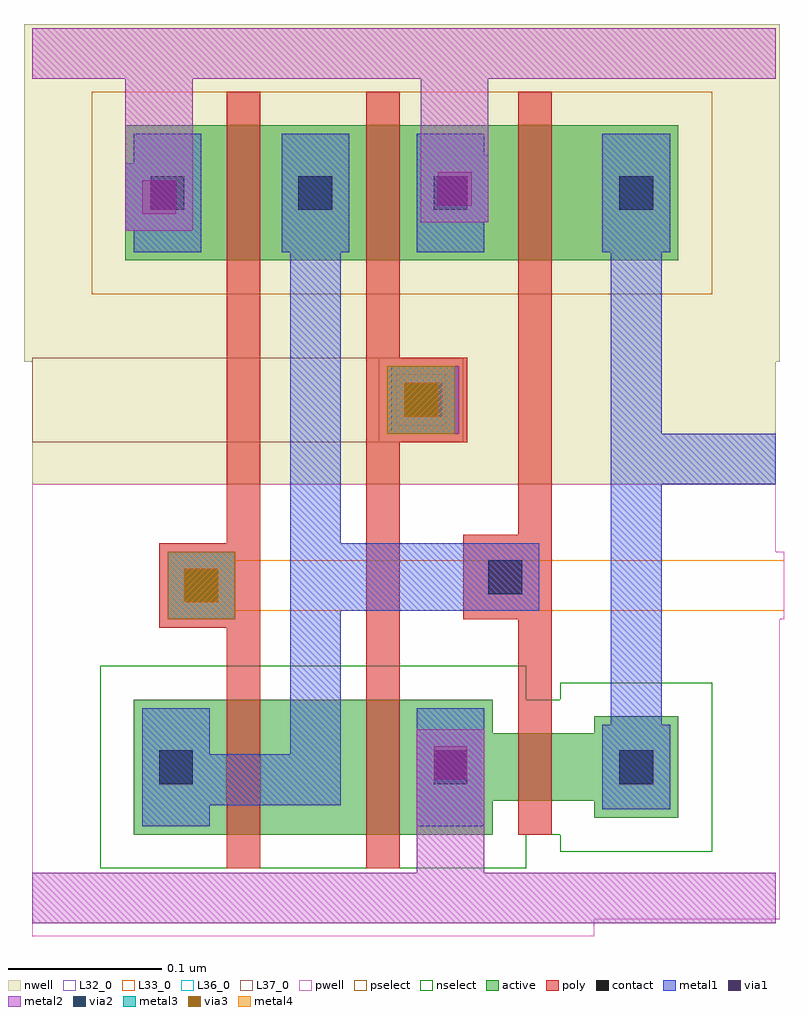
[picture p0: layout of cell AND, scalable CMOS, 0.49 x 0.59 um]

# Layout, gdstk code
import gdstk
lib = gdstk.Library(unit=1e-6, precision=1e-11)
def R(c, l, rs):  # rectangles x0, y0, x1, y1
    for r in rs: c.add(gdstk.rectangle(r[:2], r[2:], *l))
def A(c, l, x, y, w, h, nx, ny, dx, dy):  # array of equal rectangles
    R(c, l, [(x+i*dx, y+j*dy, x+i*dx+w, y+j*dy+h) for i in range(nx) for j in range(ny)])
contact = (25, 0)
via3 = (30, 0)
metal4 = (31, 0)
L32_0 = (32, 0)
L33_0 = (33, 0)
L36_0 = (36, 0)
L37_0 = (37, 0)
pwell = (41, 0)
nwell = (42, 0)
active = (43, 0)
pselect = (44, 0)
nselect = (45, 0)
poly = (46, 0)
metal1 = (49, 0)
via1 = (50, 0)
metal2 = (51, 0)
via2 = (61, 0)
metal3 = (62, 0)

and_ = lib.new_cell('AND')
R(and_, contact, [(-0.55,-0.1897,-0.528,-0.1677), (-0.3712,-0.1897,-0.3492,-0.1677), (-0.2502,-0.1897,-0.2282,-0.1677), (-0.5335,-0.0715,-0.5115,-0.0495), (-0.3355,-0.066,-0.3135,-0.044), (-0.3877,0.0495,-0.3657,0.0715), (-0.5555,0.1842,-0.5335,0.2062), (-0.4592,0.1842,-0.4372,0.2062), (-0.3712,0.1842,-0.3492,0.2062), (-0.2502,0.1842,-0.2282,0.2062)])
R(and_, via3, [(-0.5335,-0.0715,-0.5115,-0.0495), (-0.3905,0.0495,-0.3685,0.0715), (-0.3905,0.0495,-0.3685,0.0715)])
R(and_, metal4, [(-0.5445,-0.0825,-0.5005,-0.0385), (-0.5445,-0.0825,-0.5005,-0.0385), (-0.5445,-0.0825,-0.5005,-0.0385), (-0.5445,-0.0825,-0.5005,-0.0385), (-0.539,-0.077,-0.506,-0.044), (-0.4015,0.0385,-0.3575,0.0825), (-0.4015,0.0385,-0.3575,0.0825), (-0.4015,0.0385,-0.3575,0.0825), (-0.4015,0.0385,-0.3575,0.0825), (-0.4015,0.0385,-0.3575,0.0825), (-0.396,0.044,-0.363,0.077)])
R(and_, L32_0, [(-0.5335,-0.0715,-0.5115,-0.0495), (-0.5335,-0.0715,-0.5115,-0.0495), (-0.3905,0.0495,-0.3685,0.0715), (-0.3905,0.0495,-0.3685,0.0715)])
R(and_, L33_0, [(-0.5445,-0.0825,-0.5005,-0.0385), (-0.5445,-0.0825,-0.5005,-0.0385), (-0.539,-0.077,-0.143,-0.044), (-0.407,0.033,-0.352,0.088), (-0.4015,0.0385,-0.3575,0.0825), (-0.4015,0.0385,-0.3575,0.0825), (-0.4015,0.0385,-0.3575,0.0825)])
R(and_, L36_0, [(-0.396,0.044,-0.363,0.077)])
R(and_, L37_0, [(-0.6325,0.033,-0.352,0.088), (-0.407,0.033,-0.352,0.088)])
R(and_, pwell, [(-0.6325,-0.2887,-0.4455,-0.0687), (-0.605,-0.2887,-0.385,-0.0687), (-0.5142,-0.2887,-0.2942,-0.0687), (-0.4537,-0.2887,-0.2667,-0.0687), (-0.4537,-0.2887,-0.4455,-0.0687), (-0.3327,-0.2777,-0.1457,-0.0797), (-0.4152,-0.2667,-0.1952,-0.0907), (-0.3602,-0.2667,-0.2585,-0.0907), (-0.429,-0.264,-0.264,-0.0962), (-0.3465,-0.264,-0.1567,-0.099), (-0.6187,-0.2612,-0.451,-0.0962), (-0.4455,-0.2612,-0.2777,-0.0962), (-0.6325,-0.0825,-0.143,-0.0605), (-0.165,-0.0825,-0.143,-0.0385), (-0.6325,-0.0605,-0.143,-0.0385), (-0.6325,-0.0385,-0.1485,-0.0165), (-0.6325,-0.0165,-0.1485,0.0055)])
A(and_, nwell, -0.6325, 0.022, 0.484, 0.022, 1, 3, 0, 0.022)
R(and_, nwell, [(-0.6325,0.0055,-0.1485,0.0275), (-0.638,0.0852,-0.451,0.3052), (-0.605,0.0852,-0.385,0.3052), (-0.5417,0.0852,-0.3547,0.3052), (-0.5142,0.0852,-0.2942,0.3052), (-0.4537,0.0852,-0.2667,0.3052), (-0.4152,0.0852,-0.1952,0.3052), (-0.3327,0.0852,-0.1457,0.3052), (-0.539,0.1127,-0.3685,0.2777), (-0.5307,0.1127,-0.363,0.2777), (-0.4455,0.1127,-0.2805,0.2777), (-0.4427,0.1127,-0.2612,0.2777), (-0.3465,0.1127,-0.1567,0.2777), (-0.539,0.1155,-0.5363,0.2805)])
R(and_, active, [(-0.5665,-0.2227,-0.5115,-0.1347), (-0.539,-0.2227,-0.451,-0.1347), (-0.4537,-0.2227,-0.4455,-0.1347), (-0.4482,-0.2227,-0.3602,-0.1347), (-0.3877,-0.2227,-0.3327,-0.1347), (-0.2667,-0.2117,-0.2117,-0.1457), (-0.3602,-0.2007,-0.3245,-0.1567), (-0.3492,-0.2007,-0.2612,-0.1567), (-0.363,-0.198,-0.33,-0.1622), (-0.2805,-0.198,-0.2227,-0.165), (-0.5527,-0.1952,-0.517,-0.1622), (-0.3795,-0.1952,-0.3437,-0.1622), (-0.572,0.1512,-0.517,0.2392), (-0.539,0.1512,-0.451,0.2392), (-0.4757,0.1512,-0.4207,0.2392), (-0.4482,0.1512,-0.3602,0.2392), (-0.3877,0.1512,-0.3327,0.2392), (-0.3492,0.1512,-0.2612,0.2392), (-0.2667,0.1512,-0.2117,0.2392), (-0.473,0.1787,-0.4345,0.2117), (-0.4647,0.1787,-0.429,0.2117), (-0.3795,0.1787,-0.3465,0.2117), (-0.3767,0.1787,-0.3272,0.2117), (-0.2805,0.1787,-0.2227,0.2117), (-0.539,0.1815,-0.5363,0.2145)])
R(and_, pselect, [(-0.594,0.1292,-0.495,0.2612), (-0.561,0.1292,-0.429,0.2612), (-0.4977,0.1292,-0.3987,0.2612), (-0.4702,0.1292,-0.3382,0.2612), (-0.4097,0.1292,-0.3107,0.2612), (-0.3712,0.1292,-0.2392,0.2612), (-0.2887,0.1292,-0.1897,0.2612), (-0.495,0.1567,-0.4125,0.2337), (-0.4867,0.1567,-0.407,0.2337), (-0.4015,0.1567,-0.3245,0.2337), (-0.3987,0.1567,-0.3052,0.2337), (-0.3025,0.1567,-0.2007,0.2337), (-0.539,0.1595,-0.5363,0.2365)])
R(and_, nselect, [(-0.5885,-0.2447,-0.4895,-0.1127), (-0.561,-0.2447,-0.429,-0.1127), (-0.4702,-0.2447,-0.3382,-0.1127), (-0.4537,-0.2447,-0.4455,-0.1127), (-0.4097,-0.2447,-0.3107,-0.1127), (-0.2887,-0.2337,-0.1897,-0.1237), (-0.3712,-0.2227,-0.2392,-0.1347), (-0.3602,-0.2227,-0.3025,-0.1347), (-0.385,-0.22,-0.308,-0.1402), (-0.3025,-0.22,-0.2007,-0.143), (-0.5747,-0.2172,-0.495,-0.1402), (-0.4015,-0.2172,-0.3217,-0.1402)])
R(and_, poly, [(-0.506,-0.2447,-0.484,-0.1127), (-0.4152,-0.2447,-0.3932,-0.1127), (-0.3162,-0.2227,-0.2942,-0.1347), (-0.3162,-0.1457,-0.2942,-0.044), (-0.506,-0.1237,-0.484,-0.0495), (-0.4152,-0.1237,-0.3932,0.0742), (-0.4152,-0.1237,-0.3932,-0.1017), (-0.55,-0.088,-0.495,-0.033), (-0.352,-0.0825,-0.297,-0.0275), (-0.33,-0.0825,-0.3052,-0.0275), (-0.5335,-0.0715,-0.484,-0.0495), (-0.506,-0.0715,-0.484,0.1402), (-0.3162,-0.066,-0.2942,0.1402), (-0.4042,0.033,-0.3492,0.088), (-0.4042,0.0467,-0.3822,0.0797), (-0.4152,0.0522,-0.3932,0.1402), (-0.506,0.1292,-0.484,0.2612), (-0.4152,0.1292,-0.3932,0.2612), (-0.3162,0.1292,-0.2942,0.2612)])
R(and_, metal1, [(-0.561,-0.2172,-0.517,-0.1402), (-0.3822,-0.2172,-0.3382,-0.1402), (-0.561,-0.209,-0.517,-0.1567), (-0.2612,-0.2062,-0.2172,-0.1512), (-0.5555,-0.2035,-0.4317,-0.1705), (-0.4647,-0.2035,-0.4317,-0.0385), (-0.3822,-0.2035,-0.3382,-0.154), (-0.3822,-0.198,-0.3382,-0.154), (-0.2557,-0.198,-0.2227,0.0385), (-0.5445,-0.0825,-0.5005,-0.0385), (-0.5445,-0.0825,-0.5005,-0.0385), (-0.5445,-0.0825,-0.5005,-0.0385), (-0.5445,-0.0825,-0.5005,-0.0385), (-0.539,-0.077,-0.506,-0.044), (-0.4482,-0.077,-0.3245,-0.033), (-0.3465,-0.077,-0.3025,-0.033), (-0.4647,-0.0715,-0.4317,0.2117), (-0.2557,0.0055,-0.2227,0.2145), (-0.2557,0.0055,-0.1485,0.0385), (-0.3987,0.0385,-0.3547,0.0825), (-0.3987,0.0385,-0.3547,0.0825), (-0.3987,0.0385,-0.3547,0.0825), (-0.3932,0.044,-0.3602,0.077), (-0.3932,0.044,-0.3602,0.077), (-0.5665,0.1567,-0.5225,0.2337), (-0.4702,0.1567,-0.4262,0.2337), (-0.3822,0.1567,-0.3382,0.2337), (-0.2612,0.1567,-0.2172,0.2337), (-0.572,0.1705,-0.528,0.2145), (-0.5665,0.1705,-0.5225,0.2145), (-0.3822,0.1705,-0.3382,0.22), (-0.3822,0.176,-0.3355,0.22), (-0.3795,0.176,-0.3355,0.22)])
R(and_, via1, [(-0.3712,-0.187,-0.3492,-0.165), (-0.5335,-0.0715,-0.5115,-0.0495), (-0.5335,-0.0715,-0.5115,-0.0495), (-0.3877,0.0495,-0.3657,0.0715), (-0.3877,0.0495,-0.3657,0.0715), (-0.561,0.1815,-0.539,0.2035), (-0.3685,0.187,-0.3465,0.209)])
R(and_, metal2, [(-0.6325,-0.2805,-0.3437,-0.2475), (-0.3767,-0.2805,-0.1485,-0.2475), (-0.3822,-0.264,-0.3382,-0.176), (-0.3822,-0.198,-0.3382,-0.154), (-0.5445,-0.0825,-0.5005,-0.0385), (-0.5445,-0.0825,-0.5005,-0.0385), (-0.5445,-0.0825,-0.5005,-0.0385), (-0.5445,-0.0825,-0.5005,-0.0385), (-0.5445,-0.0825,-0.5005,-0.0385), (-0.539,-0.077,-0.506,-0.044), (-0.4015,0.0385,-0.3575,0.0825), (-0.4015,0.0385,-0.3547,0.0825), (-0.3987,0.0385,-0.3547,0.0825), (-0.3987,0.0385,-0.3547,0.0825), (-0.572,0.1705,-0.528,0.2145), (-0.3795,0.176,-0.3355,0.22), (-0.572,0.1925,-0.528,0.286), (-0.3795,0.198,-0.3355,0.286), (-0.6325,0.2695,-0.5335,0.3025), (-0.5665,0.2695,-0.341,0.3025), (-0.374,0.2695,-0.1485,0.3025)])
R(and_, via2, [(-0.5335,-0.0715,-0.5115,-0.0495), (-0.5335,-0.0715,-0.5115,-0.0495), (-0.3905,0.0495,-0.3685,0.0715)])
R(and_, metal3, [(-0.5445,-0.0825,-0.5005,-0.0385), (-0.5445,-0.0825,-0.5005,-0.0385), (-0.5445,-0.0825,-0.5005,-0.0385), (-0.5445,-0.0825,-0.5005,-0.0385), (-0.4015,0.0385,-0.3575,0.0825), (-0.4015,0.0385,-0.3575,0.0825), (-0.4015,0.0385,-0.3575,0.0825), (-0.4015,0.0385,-0.3575,0.0825), (-0.396,0.044,-0.363,0.077)])

lib.write_gds('AND.gds')
